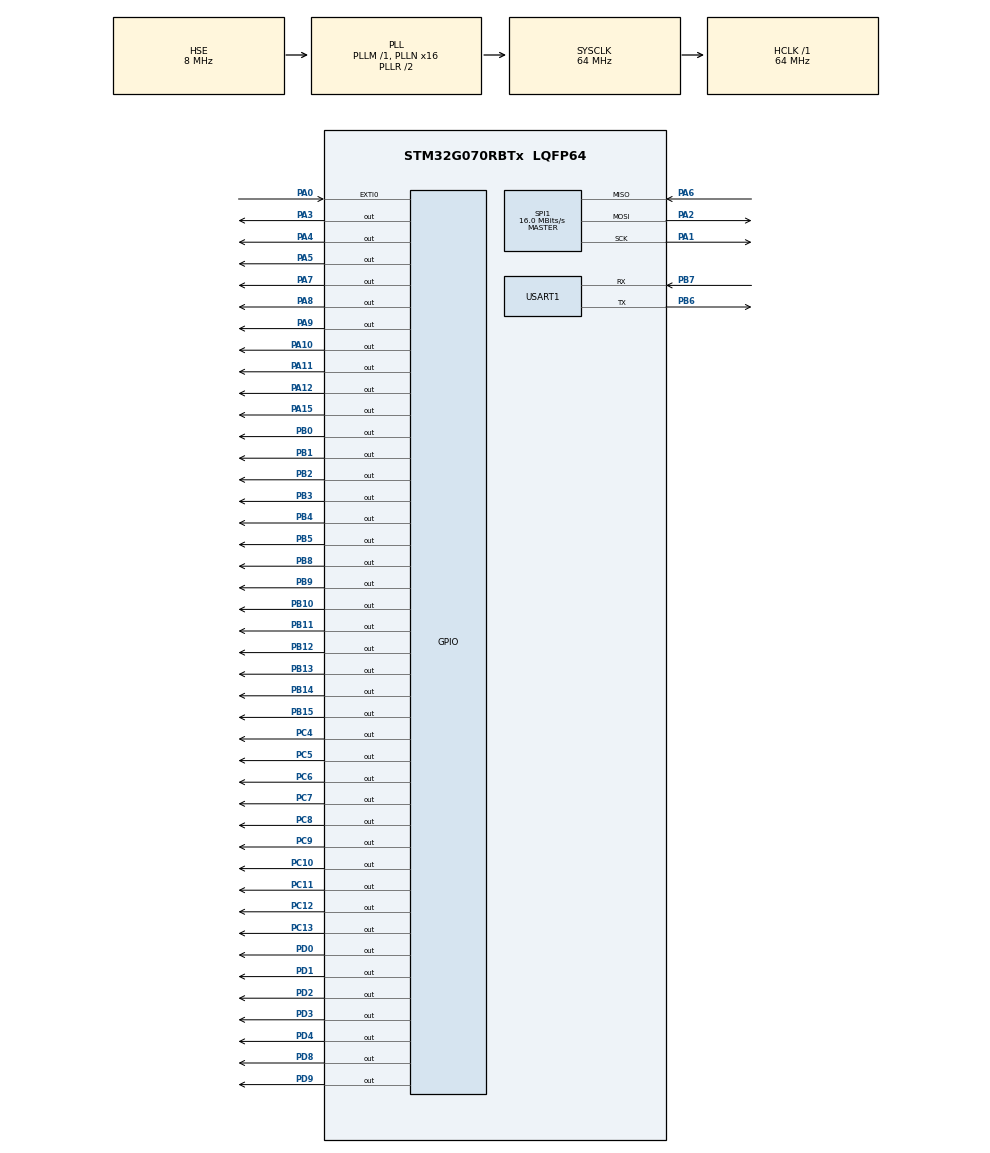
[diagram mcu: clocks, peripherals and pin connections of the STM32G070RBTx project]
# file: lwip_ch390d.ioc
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Mcu.Family=STM32G0
Mcu.Name=STM32G070RBTx
Mcu.Package=LQFP64
NVIC.EXTI0_1_IRQn=true\:0\:0\:false\:false\:true\:true\:true
NVIC.USART1_IRQn=true\:0\:0\:false\:false\:true\:true\:true
PA0.GPIO_ModeDefaultEXTI=GPIO_MODE_IT_RISING
PA0.GPIO_PuPd=GPIO_PULLDOWN
PA0.Signal=GPXTI0
PA1.Mode=Full_Duplex_Master
PA1.Signal=SPI1_SCK
PA10.GPIO_PuPd=GPIO_PULLDOWN
PA10.GPIO_Speed=GPIO_SPEED_FREQ_VERY_HIGH
PA10.Signal=GPIO_Output
PA11\ [PA9].GPIO_PuPd=GPIO_PULLDOWN
PA11\ [PA9].GPIO_Speed=GPIO_SPEED_FREQ_VERY_HIGH
PA11\ [PA9].Signal=GPIO_Output
PA12\ [PA10].GPIO_PuPd=GPIO_PULLDOWN
PA12\ [PA10].GPIO_Speed=GPIO_SPEED_FREQ_VERY_HIGH
PA12\ [PA10].Signal=GPIO_Output
PA15.GPIO_PuPd=GPIO_PULLDOWN
PA15.GPIO_Speed=GPIO_SPEED_FREQ_VERY_HIGH
PA15.Signal=GPIO_Output
PA2.Mode=Full_Duplex_Master
PA2.Signal=SPI1_MOSI
PA3.GPIO_PuPd=GPIO_PULLDOWN
PA3.GPIO_Speed=GPIO_SPEED_FREQ_VERY_HIGH
PA3.Signal=GPIO_Output
PA4.GPIO_PuPd=GPIO_PULLDOWN
PA4.GPIO_Speed=GPIO_SPEED_FREQ_VERY_HIGH
PA4.PinState=GPIO_PIN_SET
PA4.Signal=GPIO_Output
PA5.GPIO_PuPd=GPIO_PULLDOWN
PA5.GPIO_Speed=GPIO_SPEED_FREQ_VERY_HIGH
PA5.Signal=GPIO_Output
PA6.Mode=Full_Duplex_Master
PA6.Signal=SPI1_MISO
PA7.GPIO_PuPd=GPIO_PULLDOWN
PA7.GPIO_Speed=GPIO_SPEED_FREQ_VERY_HIGH
PA7.Signal=GPIO_Output
PA8.GPIO_PuPd=GPIO_PULLDOWN
PA8.GPIO_Speed=GPIO_SPEED_FREQ_VERY_HIGH
PA8.Signal=GPIO_Output
PA9.GPIO_PuPd=GPIO_PULLDOWN
PA9.GPIO_Speed=GPIO_SPEED_FREQ_VERY_HIGH
PA9.Signal=GPIO_Output
PB0.GPIO_PuPd=GPIO_PULLDOWN
PB0.GPIO_Speed=GPIO_SPEED_FREQ_VERY_HIGH
PB0.Signal=GPIO_Output
PB1.GPIO_PuPd=GPIO_PULLDOWN
PB1.GPIO_Speed=GPIO_SPEED_FREQ_VERY_HIGH
PB1.Signal=GPIO_Output
PB10.GPIO_PuPd=GPIO_PULLDOWN
PB10.GPIO_Speed=GPIO_SPEED_FREQ_VERY_HIGH
PB10.Signal=GPIO_Output
PB11.GPIO_PuPd=GPIO_PULLDOWN
PB11.GPIO_Speed=GPIO_SPEED_FREQ_VERY_HIGH
PB11.Signal=GPIO_Output
PB12.GPIO_PuPd=GPIO_PULLDOWN
PB12.GPIO_Speed=GPIO_SPEED_FREQ_VERY_HIGH
PB12.Signal=GPIO_Output
PB13.GPIO_PuPd=GPIO_PULLDOWN
PB13.GPIO_Speed=GPIO_SPEED_FREQ_VERY_HIGH
PB13.Signal=GPIO_Output
PB14.GPIO_PuPd=GPIO_PULLDOWN
PB14.GPIO_Speed=GPIO_SPEED_FREQ_VERY_HIGH
PB14.Signal=GPIO_Output
PB15.GPIO_PuPd=GPIO_PULLDOWN
PB15.GPIO_Speed=GPIO_SPEED_FREQ_VERY_HIGH
PB15.Signal=GPIO_Output
PB2.GPIO_PuPd=GPIO_PULLDOWN
PB2.GPIO_Speed=GPIO_SPEED_FREQ_VERY_HIGH
PB2.Signal=GPIO_Output
PB3.GPIO_ModeDefaultOutputPP=GPIO_MODE_OUTPUT_PP
PB3.GPIO_PuPd=GPIO_PULLDOWN
PB3.GPIO_Speed=GPIO_SPEED_FREQ_VERY_HIGH
PB3.Signal=GPIO_Output
PB4.GPIO_PuPd=GPIO_PULLDOWN
PB4.GPIO_Speed=GPIO_SPEED_FREQ_VERY_HIGH
PB4.Signal=GPIO_Output
PB5.GPIO_PuPd=GPIO_PULLDOWN
PB5.GPIO_Speed=GPIO_SPEED_FREQ_VERY_HIGH
PB5.Signal=GPIO_Output
PB6.Mode=Asynchronous
PB6.Signal=USART1_TX
PB7.Mode=Asynchronous
PB7.Signal=USART1_RX
PB8.GPIO_PuPd=GPIO_PULLDOWN
PB8.GPIO_Speed=GPIO_SPEED_FREQ_VERY_HIGH
PB8.Signal=GPIO_Output
PB9.GPIO_PuPd=GPIO_PULLDOWN
PB9.GPIO_Speed=GPIO_SPEED_FREQ_VERY_HIGH
PB9.Signal=GPIO_Output
PC10.GPIO_PuPd=GPIO_PULLDOWN
PC10.GPIO_Speed=GPIO_SPEED_FREQ_VERY_HIGH
PC10.Signal=GPIO_Output
PC11.GPIO_PuPd=GPIO_PULLDOWN
PC11.GPIO_Speed=GPIO_SPEED_FREQ_VERY_HIGH
PC11.Signal=GPIO_Output
PC12.GPIO_PuPd=GPIO_PULLDOWN
PC12.GPIO_Speed=GPIO_SPEED_FREQ_VERY_HIGH
PC12.Signal=GPIO_Output
PC13.GPIO_PuPd=GPIO_PULLDOWN
PC13.GPIO_Speed=GPIO_SPEED_FREQ_LOW
PC13.Signal=GPIO_Output
PC4.GPIO_PuPd=GPIO_PULLDOWN
PC4.GPIO_Speed=GPIO_SPEED_FREQ_VERY_HIGH
PC4.Signal=GPIO_Output
PC5.GPIO_PuPd=GPIO_PULLDOWN
PC5.GPIO_Speed=GPIO_SPEED_FREQ_VERY_HIGH
PC5.Signal=GPIO_Output
PC6.GPIO_PuPd=GPIO_PULLDOWN
PC6.GPIO_Speed=GPIO_SPEED_FREQ_VERY_HIGH
PC6.Signal=GPIO_Output
PC7.GPIO_PuPd=GPIO_PULLDOWN
PC7.GPIO_Speed=GPIO_SPEED_FREQ_VERY_HIGH
PC7.Signal=GPIO_Output
PC8.GPIO_PuPd=GPIO_PULLDOWN
PC8.GPIO_Speed=GPIO_SPEED_FREQ_VERY_HIGH
PC8.Signal=GPIO_Output
PC9.GPIO_PuPd=GPIO_PULLDOWN
PC9.GPIO_Speed=GPIO_SPEED_FREQ_VERY_HIGH
PC9.Signal=GPIO_Output
PD0.GPIO_PuPd=GPIO_PULLDOWN
PD0.GPIO_Speed=GPIO_SPEED_FREQ_VERY_HIGH
PD0.Signal=GPIO_Output
PD1.GPIO_PuPd=GPIO_PULLDOWN
PD1.GPIO_Speed=GPIO_SPEED_FREQ_VERY_HIGH
PD1.Signal=GPIO_Output
PD2.GPIO_PuPd=GPIO_PULLDOWN
PD2.GPIO_Speed=GPIO_SPEED_FREQ_VERY_HIGH
PD2.Signal=GPIO_Output
PD3.GPIO_PuPd=GPIO_PULLDOWN
PD3.GPIO_Speed=GPIO_SPEED_FREQ_VERY_HIGH
PD3.Signal=GPIO_Output
PD4.GPIO_PuPd=GPIO_PULLDOWN
PD4.GPIO_Speed=GPIO_SPEED_FREQ_VERY_HIGH
PD4.Signal=GPIO_Output
PD8.GPIO_PuPd=GPIO_PULLDOWN
PD8.GPIO_Speed=GPIO_SPEED_FREQ_VERY_HIGH
PD8.Signal=GPIO_Output
PD9.GPIO_PuPd=GPIO_PULLDOWN
PD9.GPIO_Speed=GPIO_SPEED_FREQ_VERY_HIGH
PD9.Signal=GPIO_Output
PF0-OSC_IN\ (PF0).Mode=HSE-External-Oscillator
PF0-OSC_IN\ (PF0).Signal=RCC_OSC_IN
PF1-OSC_OUT\ (PF1).Mode=HSE-External-Oscillator
PF1-OSC_OUT\ (PF1).Signal=RCC_OSC_OUT
ProjectManager.HeapSize=0x200
ProjectManager.StackSize=0x400
ProjectManager.TargetToolchain=MDK-ARM V5.32
RCC.ADCFreq_Value=64000000
RCC.AHBFreq_Value=64000000
RCC.CortexFreq_Value=64000000
RCC.EXTERNAL_CLOCK_VALUE=48000
RCC.HCLKFreq_Value=64000000
RCC.HSE_VALUE=8000000
RCC.HSI_VALUE=16000000
RCC.LSE_VALUE=32768
RCC.PLLN=16
RCC.PLLSourceVirtual=RCC_PLLSOURCE_HSE
RCC.SYSCLKFreq_VALUE=64000000
RCC.SYSCLKSource=RCC_SYSCLKSOURCE_PLLCLK
RCC.VCOOutputFreq_Value=128000000
SPI1.BaudRatePrescaler=SPI_BAUDRATEPRESCALER_4
SPI1.CLKPhase=SPI_PHASE_2EDGE
SPI1.CLKPolarity=SPI_POLARITY_HIGH
SPI1.CalculateBaudRate=16.0 MBits/s
SPI1.DataSize=SPI_DATASIZE_8BIT
SPI1.Direction=SPI_DIRECTION_2LINES
SPI1.Mode=SPI_MODE_MASTER
SPI1.VirtualType=VM_MASTER
USART1.VirtualMode-Asynchronous=VM_ASYNC
VP_RTC_VS_RTC_Activate.Mode=RTC_Enabled
VP_RTC_VS_RTC_Calendar.Mode=RTC_Calendar
VP_SYS_VS_DBSignals.Mode=DisableDeadBatterySignals
board=custom

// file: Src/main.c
/* USER CODE BEGIN Header */
/**
  ******************************************************************************
  * @file           : main.c
  * @brief          : Main program body
  ******************************************************************************
  * @attention
  *
  * <h2><center>&copy; Copyright (c) 2025 STMicroelectronics.
  * All rights reserved.</center></h2>
  *
  * This software component is licensed by ST under BSD 3-Clause license,
  * the "License"; You may not use this file except in compliance with the
  * License. You may obtain a copy of the License at:
  *                        opensource.org/licenses/BSD-3-Clause
  *
  ******************************************************************************
  */
/* USER CODE END Header */
#include "main.h"
#include "rtc.h"
#include "spi.h"
#include "usart.h"
#include "gpio.h"

/* USER CODE BEGIN Includes */
#include "delay.h"
#include "CH390.h"
#include "CH390_Interface.h"

#include "netif/ethernetif.h"
#include "lwip/timeouts.h"
#include "lwip/dhcp.h"
#include "lwip/prot/dhcp.h"
#include "tcp_echo.h"
#include "udp_echo.h"
#include "lwip/udp.h"
#include <string.h>
#include "lwipopts.h"
#include "lwip/ip_addr.h"
#include "flash_net_cfg.h"

/* USER CODE END Includes */

/* USER CODE BEGIN PTD */
#define USE_DHCP 1
extern uint8_t tcp_recv_arr[8];
extern volatile uint8_t uart_recv_flag;
extern UART_HandleTypeDef huart1;
extern uint8_t uart_recv_arr[8];
extern uint8_t tcp_recv_flag;
extern uint8_t udp_flag;
void tcp_recv_data_process(void);
void uart_recv_data_process(void);
void send_net_mode_ack(void);
void query_net_config(void);

/* 网络配置相关变量 */
volatile uint8_t net_mode = 0;          /* 0=DHCP, 1=静态IP */
static uint8_t dhcp_prev_bound = 0;     /* 上次DHCP状态: 0=未绑定, 1=已绑定 */
static uint8_t static_ip_frame = 0;     /* 静态IP配置帧计数: 0=空闲, 1=已收IP, 2=已收Mask */
static uint8_t static_ip[4] = {0};
static uint8_t static_mask[4] = {0};
static uint8_t static_gw[4] = {0};

//extern uint8_t  tcp_recv_flag;
/* USER CODE END PTD */

/* USER CODE BEGIN PD */
  char reply[64]={0};

/* USER CODE END PD */

/* USER CODE BEGIN PM */
/**
 * @name ch390_int_handler
 * @brief Handle CH390 interrupt events, include packet receive
 */
void ch390_int_handler()
{
    uint8_t int_status = ch390_get_int_status();
    // Link status changed
    if(int_status & ISR_LNKCHG)
    {
       HAL_Delay (65);
      if (ch390_get_link_status())
       {
         // printf("netif link up\r\n");
            netif_set_link_up(&ch390_netif);
        }
        else
        {
          //  printf("netif link down\r\n");
            netif_set_link_down(&ch390_netif);
        }
        ch390_write_reg(CH390_ISR, ISR_LNKCHG);
    }
    // Receive overflow
      if(int_status & ISR_ROS)
     {
      //  printf("Receive overflow\r\n");
        struct ethernetif *ethernetif = ch390_netif.state;
        do {
            ethernetif_input(&ch390_netif);
        } while (ethernetif->rx_len != 0);
     }
    // Receive overflow counter overflow
    if (int_status & ISR_ROO) printf("Overflow counter overflow\r\n");
    // Packet transmitted
    //    if(int_status & ISR_PT) printf("Packet sent\r\n");
    // Packet received
    if (int_status & ISR_PR)
    {
        struct ethernetif *ethernetif = ch390_netif.state;
        do {
           ethernetif_input(&ch390_netif);
        } while (ethernetif->rx_len != 0);
    }
}
/**
 * @name ch390_print_info
 * @brief Read and print chip's ID and MAC address
 */
void ch390_print_info()
{
    uint8_t i;
    uint8_t mac_addr[6];
    uint16_t vid = ch390_get_vendor_id();
    uint16_t pid = ch390_get_product_id();
    printf("ID: %04x%04x\r\n", vid, pid);

    ch390_get_mac(mac_addr);
    printf("MAC: ");
    for (i = 0; i < 6; i++)
    {
        printf("%02X ", mac_addr[i]);
    }
    printf("\r\n");
}
/* USER CODE END PM */

void SystemClock_Config(void);

int main(void)
{
  /* USER CODE BEGIN 1 */
  struct ip4_addr ipaddr, netmask, gateway;
  struct dhcp *dhcp;
  FlashNetCfg_t flash_cfg;
  /* USER CODE END 1 */

  /* MCU Configuration--------------------------------------------------------*/

  /* Reset of all peripherals, Initializes the Flash interface and the Systick. */
  HAL_Init();
  HAL_Delay(500);

  /* Configure the system clock */
  SystemClock_Config();

  /* USER CODE BEGIN SysInit */
//  #ifdef CH390_INTERFACE_SPI
//   ch390_gpio_init ();
//  #endif
  /* USER CODE END SysInit */

  /* Initialize all configured peripherals */
  MX_GPIO_Init();
  MX_RTC_Init();
  MX_SPI1_Init();
  MX_USART1_UART_Init();
  HAL_Delay(10);
  /* USER CODE BEGIN 2 */
  /* 从Flash加载网络配置 */
  if (flash_net_cfg_load(&flash_cfg) == 0 && flash_cfg.net_mode == 1)
  {
    /* Flash中有有效的静态IP配置 */
    net_mode = 1;
    IP4_ADDR(&ipaddr, flash_cfg.ip[0], flash_cfg.ip[1], flash_cfg.ip[2], flash_cfg.ip[3]);
    IP4_ADDR(&netmask, flash_cfg.mask[0], flash_cfg.mask[1], flash_cfg.mask[2], flash_cfg.mask[3]);
    IP4_ADDR(&gateway, flash_cfg.gw[0], flash_cfg.gw[1], flash_cfg.gw[2], flash_cfg.gw[3]);
    init_lwip_netif(&ipaddr, &netmask, &gateway);
    printf("Load static IP from flash\r\n");
    printf("IP  : %s\r\n", ip4addr_ntoa(&ipaddr));
    printf("Mask: %s\r\n", ip4addr_ntoa(&netmask));
    printf("GW  : %s\r\n", ip4addr_ntoa(&gateway));
  }
  else
  {
    printf("DHCP mode\r\n");
    /* DHCP模式 */
    net_mode = 0;
    IP4_ADDR(&ipaddr, 0, 0, 0, 0);
    IP4_ADDR(&netmask, 0, 0, 0, 0);
    IP4_ADDR(&gateway, 0, 0, 0, 0);
    init_lwip_netif(&ipaddr, &netmask, &gateway);
  }
    // Wait until phy link up
//   while (!ch390_get_link_status())
//   {
//        HAL_Delay(100);
//   }
//  netif_set_link_up(&ch390_netif);
//  printf("netif link up\r\n");

#if USE_DHCP
    if (net_mode == 0)
    {
      dhcp_start(&ch390_netif);
    }
//    struct dhcp *dhcp;
//    dhcp = netif_dhcp_data(&ch390_netif);
//    // Wait untill dhcp complete
//    while (dhcp->state != DHCP_STATE_BOUND)
//    {
//        if (ch390_get_int_pin())
//        {
//            ch390_int_handler();
//        }
//        sys_check_timeouts();
//    }
//     printf("DHCP complete\r\n");
//     printf("IP: %s\r\n", ip4addr_ntoa(netif_ip4_addr(&ch390_netif)));
//

//    printf("DHCP complete\r\n");
//    printf("IP: %s\r\n", ip4addr_ntoa(netif_ip4_addr(&ch390_netif)));
#endif
  //  udpecho_init();
   udp_discover_init();
   tcp_client_init();
   tcp_server_init();
  /* USER CODE END 2 */

  /* Infinite loop */
  /* USER CODE BEGIN WHILE */

  while (1)
  {
    if (ch390_get_int_pin())
     {
       ch390_int_handler();
      if((tcp_recv_arr[0]!=0)&&( tcp_recv_flag==1))
      {
        tcp_recv_flag=0;
        tcp_recv_data_process();
        memset(tcp_recv_arr,0,sizeof(tcp_recv_arr));
       }
     }
     sys_check_timeouts ();
    /* USER CODE END WHILE */
    /* USER CODE BEGIN 3 */
     if(uart_recv_flag==1)
     {
       uart_recv_flag=0;
       uart_recv_data_process();
     }
     if (net_mode == 0)  /* DHCP模式下等待地址分配 */
     {
       dhcp = netif_dhcp_data(&ch390_netif);
       if (dhcp != NULL && dhcp->state != DHCP_STATE_BOUND)
       {
         if (ch390_get_int_pin())
          {
              ch390_int_handler();
          }
          sys_check_timeouts ();
          dhcp_prev_bound = 0;
       }
       else if (dhcp != NULL && dhcp->state == DHCP_STATE_BOUND && dhcp_prev_bound == 0)
       {
         /* DHCP首次获取到IP，打印信息 */
         dhcp_prev_bound = 1;
         printf("DHCP OK!\r\n");
         printf("IP  : %s\r\n", ip4addr_ntoa(netif_ip4_addr(&ch390_netif)));
         printf("Mask: %s\r\n", ip4addr_ntoa(netif_ip4_netmask(&ch390_netif)));
         printf("GW  : %s\r\n", ip4addr_ntoa(netif_ip4_gw(&ch390_netif)));
       }
     }
  }
  /* USER CODE END 3 */
}

void SystemClock_Config(void)
{
  RCC_OscInitTypeDef RCC_OscInitStruct = {0};
  RCC_ClkInitTypeDef RCC_ClkInitStruct = {0};
  RCC_PeriphCLKInitTypeDef PeriphClkInit = {0};

  /** Configure the main internal regulator output voltage
  */
  HAL_PWREx_ControlVoltageScaling(PWR_REGULATOR_VOLTAGE_SCALE1);
  /** Initializes the RCC Oscillators according to the specified parameters
  * in the RCC_OscInitTypeDef structure.
  */
  RCC_OscInitStruct.OscillatorType = RCC_OSCILLATORTYPE_LSI|RCC_OSCILLATORTYPE_HSE;
  RCC_OscInitStruct.HSEState = RCC_HSE_ON;
  RCC_OscInitStruct.LSIState = RCC_LSI_ON;
  RCC_OscInitStruct.PLL.PLLState = RCC_PLL_ON;
  RCC_OscInitStruct.PLL.PLLSource = RCC_PLLSOURCE_HSE;
  RCC_OscInitStruct.PLL.PLLM = RCC_PLLM_DIV1;
  RCC_OscInitStruct.PLL.PLLN = 16;
  RCC_OscInitStruct.PLL.PLLP = RCC_PLLP_DIV2;
  RCC_OscInitStruct.PLL.PLLR = RCC_PLLR_DIV2;
  if (HAL_RCC_OscConfig(&RCC_OscInitStruct) != HAL_OK)
  {
    Error_Handler();
  }
  /** Initializes the CPU, AHB and APB buses clocks
  */
  RCC_ClkInitStruct.ClockType = RCC_CLOCKTYPE_HCLK|RCC_CLOCKTYPE_SYSCLK
                              |RCC_CLOCKTYPE_PCLK1;
  RCC_ClkInitStruct.SYSCLKSource = RCC_SYSCLKSOURCE_PLLCLK;
  RCC_ClkInitStruct.AHBCLKDivider = RCC_SYSCLK_DIV1;
  RCC_ClkInitStruct.APB1CLKDivider = RCC_HCLK_DIV1;

  if (HAL_RCC_ClockConfig(&RCC_ClkInitStruct, FLASH_LATENCY_2) != HAL_OK)
  {
    Error_Handler();
  }
  /** Initializes the peripherals clocks
  */
  PeriphClkInit.PeriphClockSelection = RCC_PERIPHCLK_RTC|RCC_PERIPHCLK_USART1;
  PeriphClkInit.Usart1ClockSelection = RCC_USART1CLKSOURCE_PCLK1;
  PeriphClkInit.RTCClockSelection = RCC_RTCCLKSOURCE_LSI;

  if (HAL_RCCEx_PeriphCLKConfig(&PeriphClkInit) != HAL_OK)
  {
    Error_Handler();
  }
}

/* USER CODE BEGIN 4 */

/*tcp接收数据处理*/
void tcp_recv_data_process(void)
{
  if((tcp_recv_arr[0]==0xFE)&&(tcp_recv_arr[7]==0xFF))
   {
     switch(tcp_recv_arr[1])
     {
        case 1:
       if(tcp_recv_arr[2]==1)
       {                                  /*打开继电器1*/
          HAL_GPIO_WritePin(GPIOC,GPIO_PIN_13,GPIO_PIN_SET);
       }
       else                                /*关闭继电器1*/
       {
         HAL_GPIO_WritePin(GPIOC,GPIO_PIN_13,GPIO_PIN_RESET);

       }
          break;
       case 2:
         if(tcp_recv_arr[2]==1)
       {                                     /*打开继电器2*/
          HAL_GPIO_WritePin(GPIOC,GPIO_PIN_12,GPIO_PIN_SET);
       }
       else                                   /*关闭继电器2*/
       {
         HAL_GPIO_WritePin(GPIOC,GPIO_PIN_12,GPIO_PIN_RESET);

       }
        break;
        case 3:
        if(tcp_recv_arr[2]==1)
       {                                     /*打开继电器3*/
          HAL_GPIO_WritePin(GPIOC,GPIO_PIN_11,GPIO_PIN_SET);
       }
       else                                    /*关闭继电器3*/
       {
         HAL_GPIO_WritePin(GPIOC,GPIO_PIN_11,GPIO_PIN_RESET);

       }
        break;
        case 4:
        if(tcp_recv_arr[2]==1)
       {                                       /*打开继电器4*/
          HAL_GPIO_WritePin(GPIOC,GPIO_PIN_10,GPIO_PIN_SET);
       }
       else                                /*关闭继电器4*/
       {
         HAL_GPIO_WritePin(GPIOC,GPIO_PIN_10,GPIO_PIN_RESET);

       }
        break;
       case 5:
        if(tcp_recv_arr[2]==1)               /*打开继电器5*/
       {
          HAL_GPIO_WritePin(GPIOB,GPIO_PIN_9,GPIO_PIN_SET);
       }
       else                                   /*关闭继电器5*/
       {
         HAL_GPIO_WritePin(GPIOB,GPIO_PIN_9,GPIO_PIN_RESET);

       }
        break;
        case 6:
        if(tcp_recv_arr[2]==1)               /*打开继电器6*/
       {
          HAL_GPIO_WritePin(GPIOB,GPIO_PIN_8,GPIO_PIN_SET);
       }
       else                                   /*关闭继电器6*/
       {
         HAL_GPIO_WritePin(GPIOB,GPIO_PIN_8,GPIO_PIN_RESET);

       }
        break;
        case 7:
       if(tcp_recv_arr[2]==1)               /*打开继电器7*/
       {
          HAL_GPIO_WritePin(GPIOB,GPIO_PIN_5,GPIO_PIN_SET);
       }
       else                                   /*关闭继电器7*/
       {
         HAL_GPIO_WritePin(GPIOB,GPIO_PIN_5,GPIO_PIN_RESET);

       }
        break;
        case 8:
        if(tcp_recv_arr[2]==1)               /*打开继电器8*/
       {
          HAL_GPIO_WritePin(GPIOB,GPIO_PIN_4,GPIO_PIN_SET);
       }
       else                                   /*关闭继电器8*/
       {
         HAL_GPIO_WritePin(GPIOB,GPIO_PIN_4,GPIO_PIN_RESET);

       }
        break;
        case 9:
         if(tcp_recv_arr[2]==1)               /*打开继电器9*/
       {
          HAL_GPIO_WritePin(GPIOB,GPIO_PIN_3,GPIO_PIN_SET);
       }
       else                                    /*关闭继电器9*/
       {
         HAL_GPIO_WritePin(GPIOB,GPIO_PIN_3,GPIO_PIN_RESET);

       }
        break;
        case 10:
       if(tcp_recv_arr[2]==1)               /*打开继电器10*/
       {
          HAL_GPIO_WritePin(GPIOD,GPIO_PIN_4,GPIO_PIN_SET);
       }
       else                                    /*关闭继电器10*/
       {
         HAL_GPIO_WritePin(GPIOD,GPIO_PIN_4,GPIO_PIN_RESET);

       }
        break;
        case 11:
      if(tcp_recv_arr[2]==1)                /*打开继电器11*/
       {
          HAL_GPIO_WritePin(GPIOD,GPIO_PIN_3,GPIO_PIN_SET);
       }
       else                                    /*关闭继电器11*/
       {
         HAL_GPIO_WritePin(GPIOD,GPIO_PIN_3,GPIO_PIN_RESET);

       }
        break;
        case 12:
       if(tcp_recv_arr[2]==1)                /*打开继电器12*/
       {
          HAL_GPIO_WritePin(GPIOD,GPIO_PIN_2,GPIO_PIN_SET);
       }
       else                                    /*关闭继电器12*/
       {
         HAL_GPIO_WritePin(GPIOD,GPIO_PIN_2,GPIO_PIN_RESET);

       }
        break;
        case 13:
         if(tcp_recv_arr[2]==1)                /*打开继电器13*/
       {
          HAL_GPIO_WritePin(GPIOD,GPIO_PIN_1,GPIO_PIN_SET);
       }
       else                                    /*关闭继电器13*/
       {
         HAL_GPIO_WritePin(GPIOD,GPIO_PIN_1,GPIO_PIN_RESET);

       }
        break;
        case 14:
        if(tcp_recv_arr[2]==1)                /*打开继电器14*/
       {
          HAL_GPIO_WritePin(GPIOD,GPIO_PIN_0,GPIO_PIN_SET);
       }
       else                                    /*关闭继电器14*/
       {
         HAL_GPIO_WritePin(GPIOD,GPIO_PIN_0,GPIO_PIN_RESET);

       }
        break;
        case 15:
       if(tcp_recv_arr[2]==1)                /*打开继电器15*/
       {
          HAL_GPIO_WritePin(GPIOC,GPIO_PIN_9,GPIO_PIN_SET);
       }
       else                                    /*关闭继电器15*/
       {
         HAL_GPIO_WritePin(GPIOC,GPIO_PIN_9,GPIO_PIN_RESET);

       }
        break;
        case 16:
       if(tcp_recv_arr[2]==1)                /*打开继电器16*/
       {
          HAL_GPIO_WritePin(GPIOC,GPIO_PIN_8,GPIO_PIN_SET);
       }
       else                                    /*关闭继电器16*/
       {
         HAL_GPIO_WritePin(GPIOC,GPIO_PIN_8,GPIO_PIN_RESET);

       }
      break;
     case 17:
       if(tcp_recv_arr[2]==1)                /*打开继电器17*/
       {
          HAL_GPIO_WritePin(GPIOA,GPIO_PIN_15,GPIO_PIN_SET);
       }
       else                                    /*关闭继电器17*/
       {
         HAL_GPIO_WritePin(GPIOA,GPIO_PIN_15,GPIO_PIN_RESET);

       }
     break;
     case 18:
      if(tcp_recv_arr[2]==1)                  /*打开继电器18*/
       {
          HAL_GPIO_WritePin(GPIOA,GPIO_PIN_12,GPIO_PIN_SET);
       }
       else                                    /*关闭继电器18*/
       {
         HAL_GPIO_WritePin(GPIOA,GPIO_PIN_12,GPIO_PIN_RESET);

       }
     break;
     case 19:
      if(tcp_recv_arr[2]==1)                  /*打开继电器19*/
       {
          HAL_GPIO_WritePin(GPIOA,GPIO_PIN_11,GPIO_PIN_SET);
       }
       else                                    /*关闭继电器19*/
       {
         HAL_GPIO_WritePin(GPIOA,GPIO_PIN_11,GPIO_PIN_RESET);

       }
     break;
     case 20:
     if(tcp_recv_arr[2]==1)                  /*打开继电器20*/
       {
          HAL_GPIO_WritePin(GPIOA,GPIO_PIN_10,GPIO_PIN_SET);
       }
       else                                    /*关闭继电器20*/
       {
         HAL_GPIO_WritePin(GPIOA,GPIO_PIN_10,GPIO_PIN_RESET);

       }
     break;
     case 21:
     if(tcp_recv_arr[2]==1)                  /*打开继电器21*/
       {
          HAL_GPIO_WritePin(GPIOD,GPIO_PIN_9,GPIO_PIN_SET);
       }
       else                                    /*关闭继电器21*/
       {
         HAL_GPIO_WritePin(GPIOD,GPIO_PIN_9,GPIO_PIN_RESET);

       }
     break;
     case 22:
      if(tcp_recv_arr[2]==1)                  /*打开继电器22*/
       {
          HAL_GPIO_WritePin(GPIOD,GPIO_PIN_8,GPIO_PIN_SET);
       }
       else                                    /*关闭继电器22*/
       {
         HAL_GPIO_WritePin(GPIOD,GPIO_PIN_8,GPIO_PIN_RESET);

       }
     break;
     case 23:
      if(tcp_recv_arr[2]==1)                  /*打开继电器23*/
       {
          HAL_GPIO_WritePin(GPIOC,GPIO_PIN_7,GPIO_PIN_SET);
       }
       else                                    /*关闭继电器23*/
       {
         HAL_GPIO_WritePin(GPIOC,GPIO_PIN_7,GPIO_PIN_RESET);

       }
     break;
     case 24:
       if(tcp_recv_arr[2]==1)                  /*打开继电器24*/
      {
          HAL_GPIO_WritePin(GPIOC,GPIO_PIN_6,GPIO_PIN_SET);
      }
      else                                    /*关闭继电器24*/
      {
         HAL_GPIO_WritePin(GPIOC,GPIO_PIN_6,GPIO_PIN_RESET);

      }
     break;
     case 25:
      if(tcp_recv_arr[2]==1)                  /*打开继电器25*/
      {
          HAL_GPIO_WritePin(GPIOA,GPIO_PIN_9,GPIO_PIN_SET);
      }
      else                                    /*关闭继电器25*/
      {
         HAL_GPIO_WritePin(GPIOA,GPIO_PIN_9,GPIO_PIN_RESET);

      }
     break;
     case 26:
      if(tcp_recv_arr[2]==1)                  /*打开继电器26*/
      {
          HAL_GPIO_WritePin(GPIOA,GPIO_PIN_8,GPIO_PIN_SET);
      }
      else                                    /*关闭继电器26*/
      {
         HAL_GPIO_WritePin(GPIOA,GPIO_PIN_8,GPIO_PIN_RESET);

      }
      break;
     case 27:
       if(tcp_recv_arr[2]==1)                  /*打开继电器27*/
      {
          HAL_GPIO_WritePin(GPIOB,GPIO_PIN_15,GPIO_PIN_SET);
      }
      else                                    /*关闭继电器27*/
      {
         HAL_GPIO_WritePin(GPIOB,GPIO_PIN_15,GPIO_PIN_RESET);

      }
      break;
     case 28:
       if(tcp_recv_arr[2]==1)                  /*打开继电器28*/
      {
          HAL_GPIO_WritePin(GPIOB,GPIO_PIN_14,GPIO_PIN_SET);
      }
      else                                    /*关闭继电器28*/
      {
         HAL_GPIO_WritePin(GPIOB,GPIO_PIN_14,GPIO_PIN_RESET);

      }
     break;
     case 29:
        if(tcp_recv_arr[2]==1)                  /*打开继电器29*/
      {
          HAL_GPIO_WritePin(GPIOB,GPIO_PIN_13,GPIO_PIN_SET);
      }
      else                                     /*关闭继电器29*/
      {
         HAL_GPIO_WritePin(GPIOB,GPIO_PIN_13,GPIO_PIN_RESET);

      }
     break;
     case 30:
        if(tcp_recv_arr[2]==1)                  /*打开继电器30*/
      {
          HAL_GPIO_WritePin(GPIOB,GPIO_PIN_12,GPIO_PIN_SET);
      }
      else                                     /*关闭继电器30*/
      {
         HAL_GPIO_WritePin(GPIOB,GPIO_PIN_12,GPIO_PIN_RESET);

      }
     break;
     case 31:
         if(tcp_recv_arr[2]==1)                  /*打开继电器31*/
      {
          HAL_GPIO_WritePin(GPIOB,GPIO_PIN_11,GPIO_PIN_SET);
      }
      else                                     /*关闭继电器31*/
      {
         HAL_GPIO_WritePin(GPIOB,GPIO_PIN_11,GPIO_PIN_RESET);

      }
     break;
     case 32:
         if(tcp_recv_arr[2]==1)                  /*打开继电器32*/
      {
          HAL_GPIO_WritePin(GPIOB,GPIO_PIN_10,GPIO_PIN_SET);
      }
      else                                     /*关闭继电器32*/
      {
         HAL_GPIO_WritePin(GPIOB,GPIO_PIN_10,GPIO_PIN_RESET);

      }
     break;
     case 33:
       if(tcp_recv_arr[2]==1)                  /*打开继电器33*/
      {
          HAL_GPIO_WritePin(GPIOB,GPIO_PIN_2,GPIO_PIN_SET);
      }
      else                                     /*关闭继电器33*/
      {
         HAL_GPIO_WritePin(GPIOB,GPIO_PIN_2,GPIO_PIN_RESET);

      }
     break;
     case 34:
       if(tcp_recv_arr[2]==1)                  /*打开继电器34*/
      {
          HAL_GPIO_WritePin(GPIOB,GPIO_PIN_1,GPIO_PIN_SET);
      }
      else                                     /*关闭继电器34*/
      {
         HAL_GPIO_WritePin(GPIOB,GPIO_PIN_1,GPIO_PIN_RESET);

      }
     break;
     case 35:
      if(tcp_recv_arr[2]==1)                  /*打开继电器35*/
      {
          HAL_GPIO_WritePin(GPIOB,GPIO_PIN_0,GPIO_PIN_SET);
      }
      else                                     /*关闭继电器35*/
      {
         HAL_GPIO_WritePin(GPIOB,GPIO_PIN_0,GPIO_PIN_RESET);

      }
      break;
     case 36:
      if(tcp_recv_arr[2]==1)                  /*打开继电器36*/
      {
          HAL_GPIO_WritePin(GPIOC,GPIO_PIN_5,GPIO_PIN_SET);
      }
      else                                     /*关闭继电器36*/
      {
         HAL_GPIO_WritePin(GPIOC,GPIO_PIN_5,GPIO_PIN_RESET);

      }
     break;
     case 37:
       if(tcp_recv_arr[2]==1)                  /*打开继电器37*/
      {
          HAL_GPIO_WritePin(GPIOC,GPIO_PIN_4,GPIO_PIN_SET);
      }
      else                                     /*关闭继电器37*/
      {
         HAL_GPIO_WritePin(GPIOC,GPIO_PIN_4,GPIO_PIN_RESET);

      }
      break;
     case 38:
       if(tcp_recv_arr[2]==1)                      /*打开继电器38*/
      {
          HAL_GPIO_WritePin(GPIOA,GPIO_PIN_7,GPIO_PIN_SET);
      }
      else                                          /*关闭继电器38*/
      {
         HAL_GPIO_WritePin(GPIOA,GPIO_PIN_7,GPIO_PIN_RESET);

      }
      break;
     case 39:
      if(tcp_recv_arr[2]==1)                      /*打开继电器39*/
      {
          HAL_GPIO_WritePin(GPIOA,GPIO_PIN_3,GPIO_PIN_SET);
      }
      else                                          /*关闭继电器39*/
      {
         HAL_GPIO_WritePin(GPIOA,GPIO_PIN_3,GPIO_PIN_RESET);

      }
     break;
     case 40:
      if(tcp_recv_arr[2]==1)                        /*打开继电器40*/
      {
          HAL_GPIO_WritePin(GPIOA,GPIO_PIN_5,GPIO_PIN_SET);
      }
      else                                          /*关闭继电器40*/
      {
         HAL_GPIO_WritePin(GPIOA,GPIO_PIN_5,GPIO_PIN_RESET);

      }
      break;
      default:break;

     }
   }

}

/**
 * @brief 回发当前网络模式确认帧
 *        格式: FE A0 mode 00 00 00 00 FF
 */
void send_net_mode_ack(void)
{
    uint8_t ack[8] = {0xFE, 0xA0, net_mode, 0x00, 0x00, 0x00, 0x00, 0xFF};
    HAL_UART_Transmit(&huart1, ack, 8, 100);
}

/**
 * @brief 查询并回发当前网络配置（4帧）
 *        帧1: FE A0 mode 00 00 00 00 FF     (模式)
 *        帧2: FE A1 ip0  ip1  ip2  ip3  FF   (IP地址 4字节)
 *        帧3: FE A2 mask0 mask1 mask2 mask3 FF (子网掩码 4字节)
 *        帧4: FE A3 gw0  gw1  gw2  gw3  FF   (网关 4字节)
 */
void query_net_config(void)
{
    uint8_t buf[8];
    const ip4_addr_t *ip = netif_ip4_addr(&ch390_netif);
    const ip4_addr_t *mask = netif_ip4_netmask(&ch390_netif);
    const ip4_addr_t *gw = netif_ip4_gw(&ch390_netif);

    /* 帧1: 模式 */
    buf[0] = 0xFE; buf[1] = 0xA0; buf[2] = net_mode;
    buf[3] = 0x00; buf[4] = 0x00; buf[5] = 0x00; buf[6] = 0x00; buf[7] = 0xFF;
    HAL_UART_Transmit(&huart1, buf, 8, 100);

    /* 帧2: IP地址 (4字节) */
    buf[0] = 0xFE; buf[1] = 0xA1;
    buf[2] = ip4_addr1(ip); buf[3] = ip4_addr2(ip);
    buf[4] = ip4_addr3(ip); buf[5] = ip4_addr4(ip); buf[6] = 0x00; buf[7] = 0xFF;
    HAL_UART_Transmit(&huart1, buf, 8, 100);

    /* 帧3: 子网掩码 (4字节) */
    buf[0] = 0xFE; buf[1] = 0xA2;
    buf[2] = ip4_addr1(mask); buf[3] = ip4_addr2(mask);
    buf[4] = ip4_addr3(mask); buf[5] = ip4_addr4(mask); buf[6] = 0x00; buf[7] = 0xFF;
    HAL_UART_Transmit(&huart1, buf, 8, 100);

    /* 帧4: 网关 (4字节) */
    buf[0] = 0xFE; buf[1] = 0xA3;
    buf[2] = ip4_addr1(gw); buf[3] = ip4_addr2(gw);
    buf[4] = ip4_addr3(gw); buf[5] = ip4_addr4(gw); buf[6] = 0x00; buf[7] = 0xFF;
    HAL_UART_Transmit(&huart1, buf, 8, 100);
}

/*uart接收数据处理*/
void uart_recv_data_process(void)
{
  if((uart_recv_arr[0]==0xFE)&&(uart_recv_arr[7]==0xFF))
   {
     switch(uart_recv_arr[1])
     {
       case 1:
       if(uart_recv_arr[2]==1)
       {                                  /*打开继电器1*/
          HAL_GPIO_WritePin(GPIOC,GPIO_PIN_13,GPIO_PIN_SET);
       }
       else                                /*关闭继电器1*/
       {
         HAL_GPIO_WritePin(GPIOC,GPIO_PIN_13,GPIO_PIN_RESET);

       }
       break;
       case 2:
         if(uart_recv_arr[2]==1)
       {                                     /*打开继电器2*/
          HAL_GPIO_WritePin(GPIOC,GPIO_PIN_12,GPIO_PIN_SET);
       }
       else                                   /*关闭继电器2*/
       {
         HAL_GPIO_WritePin(GPIOC,GPIO_PIN_12,GPIO_PIN_RESET);

       }
        break;
        case 3:
        if(uart_recv_arr[2]==1)
       {                                     /*打开继电器3*/
          HAL_GPIO_WritePin(GPIOC,GPIO_PIN_11,GPIO_PIN_SET);
       }
       else                                    /*关闭继电器3*/
       {
         HAL_GPIO_WritePin(GPIOC,GPIO_PIN_11,GPIO_PIN_RESET);

       }
        break;
        case 4:
        if(uart_recv_arr[2]==1)
       {                                       /*打开继电器4*/
          HAL_GPIO_WritePin(GPIOC,GPIO_PIN_10,GPIO_PIN_SET);
       }
       else                                /*关闭继电器4*/
       {
         HAL_GPIO_WritePin(GPIOC,GPIO_PIN_10,GPIO_PIN_RESET);

       }
        break;
       case 5:
        if(uart_recv_arr[2]==1)               /*打开继电器5*/
       {
          HAL_GPIO_WritePin(GPIOB,GPIO_PIN_9,GPIO_PIN_SET);
       }
       else                                   /*关闭继电器5*/
       {
         HAL_GPIO_WritePin(GPIOB,GPIO_PIN_9,GPIO_PIN_RESET);

       }
        break;
        case 6:
        if(uart_recv_arr[2]==1)               /*打开继电器6*/
       {
          HAL_GPIO_WritePin(GPIOB,GPIO_PIN_8,GPIO_PIN_SET);
       }
       else                                   /*关闭继电器6*/
       {
         HAL_GPIO_WritePin(GPIOB,GPIO_PIN_8,GPIO_PIN_RESET);

       }
        break;
        case 7:
       if(uart_recv_arr[2]==1)               /*打开继电器7*/
       {
          HAL_GPIO_WritePin(GPIOB,GPIO_PIN_5,GPIO_PIN_SET);
       }
       else                                   /*关闭继电器7*/
       {
         HAL_GPIO_WritePin(GPIOB,GPIO_PIN_5,GPIO_PIN_RESET);

       }
        break;
        case 8:
        if(uart_recv_arr[2]==1)               /*打开继电器8*/
       {
          HAL_GPIO_WritePin(GPIOB,GPIO_PIN_4,GPIO_PIN_SET);
       }
       else                                   /*关闭继电器8*/
       {
         HAL_GPIO_WritePin(GPIOB,GPIO_PIN_4,GPIO_PIN_RESET);

       }
        break;
        case 9:
         if(uart_recv_arr[2]==1)               /*打开继电器9*/
       {
          HAL_GPIO_WritePin(GPIOB,GPIO_PIN_3,GPIO_PIN_SET);
       }
       else                                    /*关闭继电器9*/
       {
         HAL_GPIO_WritePin(GPIOB,GPIO_PIN_3,GPIO_PIN_RESET);

       }
        break;
        case 10:
       if(uart_recv_arr[2]==1)               /*打开继电器10*/
       {
          HAL_GPIO_WritePin(GPIOD,GPIO_PIN_4,GPIO_PIN_SET);
       }
       else                                    /*关闭继电器10*/
       {
         HAL_GPIO_WritePin(GPIOD,GPIO_PIN_4,GPIO_PIN_RESET);

       }
        break;
        case 11:
      if(uart_recv_arr[2]==1)                /*打开继电器11*/
       {
          HAL_GPIO_WritePin(GPIOD,GPIO_PIN_3,GPIO_PIN_SET);
       }
       else                                    /*关闭继电器11*/
       {
         HAL_GPIO_WritePin(GPIOD,GPIO_PIN_3,GPIO_PIN_RESET);

       }
        break;
        case 12:
       if(uart_recv_arr[2]==1)                /*打开继电器12*/
       {
          HAL_GPIO_WritePin(GPIOD,GPIO_PIN_2,GPIO_PIN_SET);
       }
       else                                    /*关闭继电器12*/
       {
         HAL_GPIO_WritePin(GPIOD,GPIO_PIN_2,GPIO_PIN_RESET);

       }
        break;
        case 13:
         if(uart_recv_arr[2]==1)                /*打开继电器13*/
       {
          HAL_GPIO_WritePin(GPIOD,GPIO_PIN_1,GPIO_PIN_SET);
       }
       else                                    /*关闭继电器13*/
       {
         HAL_GPIO_WritePin(GPIOD,GPIO_PIN_1,GPIO_PIN_RESET);

       }
        break;
        case 14:
        if(uart_recv_arr[2]==1)                /*打开继电器14*/
       {
          HAL_GPIO_WritePin(GPIOD,GPIO_PIN_0,GPIO_PIN_SET);
       }
       else                                    /*关闭继电器14*/
       {
         HAL_GPIO_WritePin(GPIOD,GPIO_PIN_0,GPIO_PIN_RESET);

       }
        break;
        case 15:
       if(uart_recv_arr[2]==1)                /*打开继电器15*/
       {
          HAL_GPIO_WritePin(GPIOC,GPIO_PIN_9,GPIO_PIN_SET);
       }
       else                                    /*关闭继电器15*/
       {
         HAL_GPIO_WritePin(GPIOC,GPIO_PIN_9,GPIO_PIN_RESET);

       }
        break;
        case 16:
       if(uart_recv_arr[2]==1)                /*打开继电器16*/
       {
          HAL_GPIO_WritePin(GPIOC,GPIO_PIN_8,GPIO_PIN_SET);
       }
       else                                    /*关闭继电器16*/
       {
         HAL_GPIO_WritePin(GPIOC,GPIO_PIN_8,GPIO_PIN_RESET);

       }
      break;
     case 17:
       if(uart_recv_arr[2]==1)                /*打开继电器17*/
       {
          HAL_GPIO_WritePin(GPIOA,GPIO_PIN_15,GPIO_PIN_SET);
       }
       else                                    /*关闭继电器17*/
       {
         HAL_GPIO_WritePin(GPIOA,GPIO_PIN_15,GPIO_PIN_RESET);

       }
     break;
     case 18:
      if(uart_recv_arr[2]==1)                  /*打开继电器18*/
       {
          HAL_GPIO_WritePin(GPIOA,GPIO_PIN_12,GPIO_PIN_SET);
       }
       else                                    /*关闭继电器18*/
       {
         HAL_GPIO_WritePin(GPIOA,GPIO_PIN_12,GPIO_PIN_RESET);

       }
     break;
     case 19:
      if(uart_recv_arr[2]==1)                  /*打开继电器19*/
       {
          HAL_GPIO_WritePin(GPIOA,GPIO_PIN_11,GPIO_PIN_SET);
       }
       else                                    /*关闭继电器19*/
       {
         HAL_GPIO_WritePin(GPIOA,GPIO_PIN_11,GPIO_PIN_RESET);

       }
     break;
     case 20:
     if(uart_recv_arr[2]==1)                  /*打开继电器20*/
       {
          HAL_GPIO_WritePin(GPIOA,GPIO_PIN_10,GPIO_PIN_SET);
       }
       else                                    /*关闭继电器20*/
       {
         HAL_GPIO_WritePin(GPIOA,GPIO_PIN_10,GPIO_PIN_RESET);

       }
     break;
     case 21:
     if(uart_recv_arr[2]==1)                  /*打开继电器21*/
       {
          HAL_GPIO_WritePin(GPIOD,GPIO_PIN_9,GPIO_PIN_SET);
       }
       else                                    /*关闭继电器21*/
       {
         HAL_GPIO_WritePin(GPIOD,GPIO_PIN_9,GPIO_PIN_RESET);

       }
     break;
     case 22:
      if(uart_recv_arr[2]==1)                  /*打开继电器22*/
       {
          HAL_GPIO_WritePin(GPIOD,GPIO_PIN_8,GPIO_PIN_SET);
       }
       else                                    /*关闭继电器22*/
       {
         HAL_GPIO_WritePin(GPIOD,GPIO_PIN_8,GPIO_PIN_RESET);

       }
     break;
     case 23:
      if(uart_recv_arr[2]==1)                  /*打开继电器23*/
       {
          HAL_GPIO_WritePin(GPIOC,GPIO_PIN_7,GPIO_PIN_SET);
       }
       else                                    /*关闭继电器23*/
       {
         HAL_GPIO_WritePin(GPIOC,GPIO_PIN_7,GPIO_PIN_RESET);

       }
     break;
     case 24:
       if(uart_recv_arr[2]==1)                  /*打开继电器24*/
      {
          HAL_GPIO_WritePin(GPIOC,GPIO_PIN_6,GPIO_PIN_SET);
      }
      else                                    /*关闭继电器24*/
      {
         HAL_GPIO_WritePin(GPIOC,GPIO_PIN_6,GPIO_PIN_RESET);

      }
     break;
     case 25:
      if(uart_recv_arr[2]==1)                  /*打开继电器25*/
      {
          HAL_GPIO_WritePin(GPIOA,GPIO_PIN_9,GPIO_PIN_SET);
      }
      else                                    /*关闭继电器25*/
      {
         HAL_GPIO_WritePin(GPIOA,GPIO_PIN_9,GPIO_PIN_RESET);

      }
     break;
     case 26:
      if(uart_recv_arr[2]==1)                  /*打开继电器26*/
      {
          HAL_GPIO_WritePin(GPIOA,GPIO_PIN_8,GPIO_PIN_SET);
      }
      else                                    /*关闭继电器26*/
      {
         HAL_GPIO_WritePin(GPIOA,GPIO_PIN_8,GPIO_PIN_RESET);

      }
      break;
     case 27:
       if(uart_recv_arr[2]==1)                  /*打开继电器27*/
      {
          HAL_GPIO_WritePin(GPIOB,GPIO_PIN_15,GPIO_PIN_SET);
      }
      else                                    /*关闭继电器27*/
      {
         HAL_GPIO_WritePin(GPIOB,GPIO_PIN_15,GPIO_PIN_RESET);

      }
      break;
     case 28:
       if(uart_recv_arr[2]==1)                  /*打开继电器28*/
      {
          HAL_GPIO_WritePin(GPIOB,GPIO_PIN_14,GPIO_PIN_SET);
      }
      else                                    /*关闭继电器28*/
      {
         HAL_GPIO_WritePin(GPIOB,GPIO_PIN_14,GPIO_PIN_RESET);

      }
     break;
     case 29:
        if(uart_recv_arr[2]==1)                  /*打开继电器29*/
      {
          HAL_GPIO_WritePin(GPIOB,GPIO_PIN_13,GPIO_PIN_SET);
      }
      else                                     /*关闭继电器29*/
      {
         HAL_GPIO_WritePin(GPIOB,GPIO_PIN_13,GPIO_PIN_RESET);

      }
     break;
     case 30:
        if(uart_recv_arr[2]==1)                  /*打开继电器30*/
      {
          HAL_GPIO_WritePin(GPIOB,GPIO_PIN_12,GPIO_PIN_SET);
      }
      else                                     /*关闭继电器30*/
      {
         HAL_GPIO_WritePin(GPIOB,GPIO_PIN_12,GPIO_PIN_RESET);

      }
     break;
     case 31:
         if(uart_recv_arr[2]==1)                  /*打开继电器31*/
      {
          HAL_GPIO_WritePin(GPIOB,GPIO_PIN_11,GPIO_PIN_SET);
      }
      else                                     /*关闭继电器31*/
      {
         HAL_GPIO_WritePin(GPIOB,GPIO_PIN_11,GPIO_PIN_RESET);

      }
     break;
     case 32:
         if(uart_recv_arr[2]==1)                  /*打开继电器32*/
      {
          HAL_GPIO_WritePin(GPIOB,GPIO_PIN_10,GPIO_PIN_SET);
      }
      else                                     /*关闭继电器32*/
      {
         HAL_GPIO_WritePin(GPIOB,GPIO_PIN_10,GPIO_PIN_RESET);

      }
     break;
     case 33:
       if(uart_recv_arr[2]==1)                  /*打开继电器33*/
      {
          HAL_GPIO_WritePin(GPIOB,GPIO_PIN_2,GPIO_PIN_SET);
      }
      else                                     /*关闭继电器33*/
      {
         HAL_GPIO_WritePin(GPIOB,GPIO_PIN_2,GPIO_PIN_RESET);

      }
     break;
     case 34:
       if(uart_recv_arr[2]==1)                  /*打开继电器34*/
      {
          HAL_GPIO_WritePin(GPIOB,GPIO_PIN_1,GPIO_PIN_SET);
      }
      else                                     /*关闭继电器34*/
      {
         HAL_GPIO_WritePin(GPIOB,GPIO_PIN_1,GPIO_PIN_RESET);

      }
     break;
     case 35:
      if(uart_recv_arr[2]==1)                  /*打开继电器35*/
      {
          HAL_GPIO_WritePin(GPIOB,GPIO_PIN_0,GPIO_PIN_SET);
      }
      else                                     /*关闭继电器35*/
      {
         HAL_GPIO_WritePin(GPIOB,GPIO_PIN_0,GPIO_PIN_RESET);

      }
      break;
     case 36:
      if(uart_recv_arr[2]==1)                  /*打开继电器36*/
      {
          HAL_GPIO_WritePin(GPIOC,GPIO_PIN_5,GPIO_PIN_SET);
      }
      else                                     /*关闭继电器36*/
      {
         HAL_GPIO_WritePin(GPIOC,GPIO_PIN_5,GPIO_PIN_RESET);

      }
     break;
     case 37:
       if(uart_recv_arr[2]==1)                  /*打开继电器37*/
      {
          HAL_GPIO_WritePin(GPIOC,GPIO_PIN_4,GPIO_PIN_SET);
      }
      else                                     /*关闭继电器37*/
      {
         HAL_GPIO_WritePin(GPIOC,GPIO_PIN_4,GPIO_PIN_RESET);

      }
      break;
     case 38:
       if(uart_recv_arr[2]==1)                      /*打开继电器38*/
      {
          HAL_GPIO_WritePin(GPIOA,GPIO_PIN_7,GPIO_PIN_SET);
      }
      else                                          /*关闭继电器38*/
      {
         HAL_GPIO_WritePin(GPIOA,GPIO_PIN_7,GPIO_PIN_RESET);

      }
      break;
     case 39:
      if(uart_recv_arr[2]==1)                      /*打开继电器39*/
      {
          HAL_GPIO_WritePin(GPIOA,GPIO_PIN_3,GPIO_PIN_SET);
      }
      else                                          /*关闭继电器39*/
      {
         HAL_GPIO_WritePin(GPIOA,GPIO_PIN_3,GPIO_PIN_RESET);

      }
     break;
     case 40:
      if(uart_recv_arr[2]==1)                        /*打开继电器40*/
      {
          HAL_GPIO_WritePin(GPIOA,GPIO_PIN_5,GPIO_PIN_SET);
      }
      else                                          /*关闭继电器40*/
      {
         HAL_GPIO_WritePin(GPIOA,GPIO_PIN_5,GPIO_PIN_RESET);

      }
      break;
      /* ===== 网络配置命令 ===== */
      case 0xA0:  /* 设置网络模式: 0=DHCP, 1=静态IP */
      {
        uint8_t mode = uart_recv_arr[2];
        if (mode == 0)  /* 切换到 DHCP */
        {
          dhcp_stop(&ch390_netif);
          ip4_addr_t zero;
          IP4_ADDR(&zero, 0, 0, 0, 0);
          netif_set_addr(&ch390_netif, &zero, &zero, &zero);
          dhcp_start(&ch390_netif);
          net_mode = 0;
          static_ip_frame = 0;
          flash_net_cfg_clear();  /* 清除Flash中的静态配置 */
        }
        else if (mode == 1)  /* 切换到静态IP (等待后续帧配置地址) */
        {
          net_mode = 1;
          static_ip_frame = 0;  /* 重置帧计数，等待 0xA1~0xA3 */
        }
        send_net_mode_ack();
      }
      break;
      case 0xA1:  /* 静态IP: ip0, ip1, ip2, ip3 (4字节完整IP) */
      {
        if (net_mode == 1)
        {
          static_ip[0] = uart_recv_arr[2];
          static_ip[1] = uart_recv_arr[3];
          static_ip[2] = uart_recv_arr[4];
          static_ip[3] = uart_recv_arr[5];
          static_ip_frame = 1;
        }
      }
      break;
      case 0xA2:  /* 子网掩码: mask0, mask1, mask2, mask3 (4字节完整掩码) */
      {
        if (net_mode == 1 && static_ip_frame >= 1)
        {
          static_mask[0] = uart_recv_arr[2];
          static_mask[1] = uart_recv_arr[3];
          static_mask[2] = uart_recv_arr[4];
          static_mask[3] = uart_recv_arr[5];
          static_ip_frame = 2;
        }
      }
      break;
      case 0xA3:  /* 网关: gw0, gw1, gw2, gw3 (4字节完整网关) -> 应用配置 */
      {
        if (net_mode == 1 && static_ip_frame >= 2)
        {
          static_gw[0] = uart_recv_arr[2];
          static_gw[1] = uart_recv_arr[3];
          static_gw[2] = uart_recv_arr[4];
          static_gw[3] = uart_recv_arr[5];
          /* 应用静态IP配置 */
          dhcp_stop(&ch390_netif);
          ip4_addr_t ip, mask, gw;
          IP4_ADDR(&ip, static_ip[0], static_ip[1], static_ip[2], static_ip[3]);
          IP4_ADDR(&mask, static_mask[0], static_mask[1], static_mask[2], static_mask[3]);
          IP4_ADDR(&gw, static_gw[0], static_gw[1], static_gw[2], static_gw[3]);
          netif_set_addr(&ch390_netif, &ip, &mask, &gw);
          netif_set_up(&ch390_netif);
          static_ip_frame = 0;
          /* 保存到Flash */
          FlashNetCfg_t save_cfg;
          save_cfg.net_mode = 1;
          memcpy(save_cfg.ip, static_ip, 4);
          memcpy(save_cfg.mask, static_mask, 4);
          memcpy(save_cfg.gw, static_gw, 4);
          memset(save_cfg.reserved, 0, 3);
          flash_net_cfg_save(&save_cfg);
          /* 回发确认 */
          send_net_mode_ack();
          // printf("Static IP set: %s\r\n", ip4addr_ntoa(&ip));
        }
      }
      break;
      case 0xA4:  /* 查询当前网络配置 */
      {
        query_net_config();
      }
      break;
      default: break;

     }
   }

}

/* USER CODE END 4 */

void Error_Handler(void)
{
  __disable_irq();
  while (1)
  {
  }
}

/************************ (C) COPYRIGHT STMicroelectronics *****END OF FILE****/
